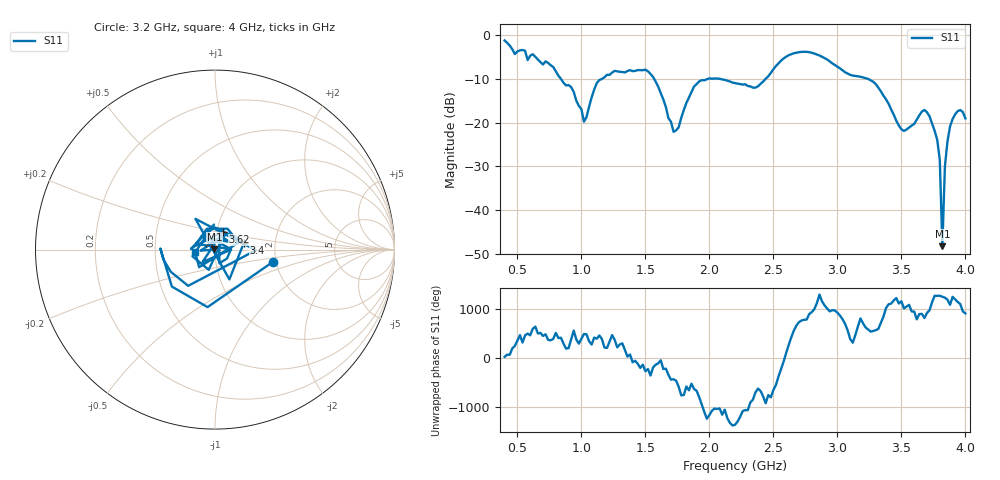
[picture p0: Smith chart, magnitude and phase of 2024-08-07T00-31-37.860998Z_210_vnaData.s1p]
!Created with skrf (http://scikit-rf.org).
# Hz S RI R 50.0
!freq ReS11 ImS11
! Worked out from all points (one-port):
!   181 points, 400 MHz to 4 GHz, reference 50 ohm
!   lowest |S11| = -48.3 dB at 3.82 GHz (marker M1), VSWR 1.01, Z = 49.6 + j0.102 ohm
!   |S11| at or under -10 dB: 1.568 GHz to 1.988 GHz (419.4 MHz wide, 23.6 % of centre); 2.085 GHz to 2.439 GHz (353.6 MHz wide, 15.6 % of centre); 3.24 GHz to end of sweep (the widest 3 of 4)
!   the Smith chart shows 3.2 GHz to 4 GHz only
!   S11 on the Smith chart (normalised r, x): 3.2 GHz: 1.92, -0.30; 3.4 GHz: 1.38, +0.10; 3.62 GHz: 1.07, +0.21; 4 GHz: 0.80, -0.02
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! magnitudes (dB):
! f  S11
! 400 MHz  -1.2
! 860 MHz  -10.9
! 940 MHz  -13.0
! 1.02 GHz  -19.8
! 1.12 GHz  -11.0
! 1.3 GHz  -8.4
! 1.52 GHz  -8.3
! 1.6 GHz  -11.8
! 1.72 GHz  -22.1
! 1.76 GHz  -21.1
! 1.92 GHz  -10.6
! 2.2 GHz  -11.0
! 2.36 GHz  -12.0
! 2.66 GHz  -4.1
! 3.1 GHz  -9.1
! 3.2 GHz  -9.7
! 3.4 GHz  -15.7
! 3.5 GHz  -21.5
! 3.56 GHz  -21.1
! 3.62 GHz  -19.3
! 3.7 GHz  -17.7
! 3.78 GHz  -23.9
! 3.8 GHz  -28.5
! 3.82 GHz  -48.3
! 3.84 GHz  -30.0
! 3.88 GHz  -20.9
! 3.94 GHz  -17.4
! 4 GHz  -19.0
